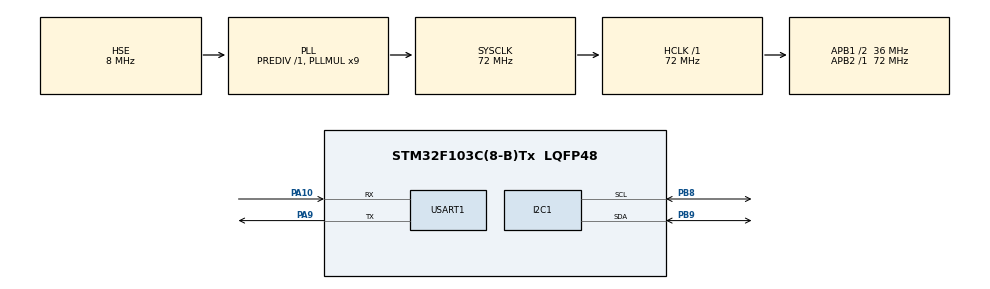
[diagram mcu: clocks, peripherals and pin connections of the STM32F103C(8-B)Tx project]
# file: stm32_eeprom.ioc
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I2C1.I2C_Mode=I2C_Fast
Mcu.Family=STM32F1
Mcu.Name=STM32F103C(8-B)Tx
Mcu.Package=LQFP48
NVIC.PriorityGroup=NVIC_PRIORITYGROUP_4
PA10.Mode=Asynchronous
PA10.Signal=USART1_RX
PA13.Mode=Serial_Wire
PA13.Signal=SYS_JTMS-SWDIO
PA14.Mode=Serial_Wire
PA14.Signal=SYS_JTCK-SWCLK
PA9.Mode=Asynchronous
PA9.Signal=USART1_TX
PB8.Mode=I2C
PB8.Signal=I2C1_SCL
PB9.Mode=I2C
PB9.Signal=I2C1_SDA
PD0-OSC_IN.Mode=HSE-External-Oscillator
PD0-OSC_IN.Signal=RCC_OSC_IN
PD1-OSC_OUT.Mode=HSE-External-Oscillator
PD1-OSC_OUT.Signal=RCC_OSC_OUT
ProjectManager.HeapSize=0x200
ProjectManager.StackSize=0x400
ProjectManager.TargetToolchain=Makefile
RCC.AHBFreq_Value=72000000
RCC.APB1CLKDivider=RCC_HCLK_DIV2
RCC.APB1Freq_Value=36000000
RCC.APB1TimFreq_Value=72000000
RCC.APB2Freq_Value=72000000
RCC.APB2TimFreq_Value=72000000
RCC.HCLKFreq_Value=72000000
RCC.PLLMUL=RCC_PLL_MUL9
RCC.PLLSourceVirtual=RCC_PLLSOURCE_HSE
RCC.SYSCLKFreq_VALUE=72000000
RCC.SYSCLKSource=RCC_SYSCLKSOURCE_PLLCLK
RCC.USBFreq_Value=72000000
USART1.VirtualMode=VM_ASYNC
board=custom

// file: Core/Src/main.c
/* USER CODE BEGIN Header */
/**
  ******************************************************************************
  * @file           : main.c
  * @brief          : Main program body
  ******************************************************************************
  * @attention
  *
  * Copyright (c) 2025 STMicroelectronics.
  * All rights reserved.
  *
  * This software is licensed under terms that can be found in the LICENSE file
  * in the root directory of this software component.
  * If no LICENSE file comes with this software, it is provided AS-IS.
  *
  ******************************************************************************
  */
/* USER CODE END Header */
#include "main.h"

/* USER CODE BEGIN Includes */
#include "string.h"
#include "stdio.h"
#include "ssd1306_fonts.h"
#include "ssd1306_tests.h"
#include "ssd1306.h"
#include "bitmap.h"

#include "stm32f1xx_hal_i2c.h"

/* USER CODE END Includes */

I2C_HandleTypeDef hi2c1;

UART_HandleTypeDef huart1;

/* USER CODE BEGIN PV */
#define EEPROM_ADDR (0xA0 << 1)
uint8_t Data_Save[] = "4096";
uint8_t Data_Read[64];
uint16_t Nilai_Data;
char data_memori[64];

uint8_t Buffer[25] = {0};
uint8_t Space[] = " - ";
uint8_t StartMSG[] = "Starting I2C Scanning: \r\n";
uint8_t EndMSG[] = "Done! \r\n\r\n";

/* USER CODE END PV */

void SystemClock_Config(void);
static void MX_GPIO_Init(void);
static void MX_I2C1_Init(void);
static void MX_USART1_UART_Init(void);

int main(void)
{

  /* USER CODE BEGIN 1 */
  //uint8_t i = 0, ret;

  /* USER CODE END 1 */

  /* MCU Configuration--------------------------------------------------------*/

  /* Reset of all peripherals, Initializes the Flash interface and the Systick. */
  HAL_Init();

  /* USER CODE BEGIN Init */
  HAL_Delay(100); // tambahkan delay untuk auto reset supaya bisa auto run
  /* USER CODE END Init */

  /* Configure the system clock */
  SystemClock_Config();

  /* Initialize all configured peripherals */
  MX_GPIO_Init();
  MX_I2C1_Init();
  MX_USART1_UART_Init();
  /* USER CODE BEGIN 2 */
  HAL_Delay(1000);
  /*
    //-[ I2C Bus Scanning ]-
    HAL_UART_Transmit(&huart1, StartMSG, sizeof(StartMSG), 10000);
    for(i=1; i<128; i++)
    {
        ret = HAL_I2C_IsDeviceReady(&hi2c1, (uint16_t)(i<<1), 3, 5);
        if (ret != HAL_OK) ///No ACK Received At That Address
        {
            HAL_UART_Transmit(&huart1, Space, sizeof(Space), 10000);
        }
        else if(ret == HAL_OK)
        {
            sprintf(Buffer, "0x%X", i);
            HAL_UART_Transmit(&huart1, Buffer, sizeof(Buffer), 10000);
        }
    }
    HAL_UART_Transmit(&huart1, EndMSG, sizeof(EndMSG), 10000);
    //--[ Scanning Done ]--
  */

  //HAL_I2C_Mem_Write(I2C_HandleTypeDef *hi2c, uint16_t DevAddress, uint16_t MemAddress, uint16_t MemAddSize, uint8_t *pData, uint16_t Size, uint32_t Timeout);
  HAL_I2C_Mem_Write(&hi2c1, 0x50<<1, 0x0000, 2, (uint8_t*)Data_Save, sizeof(Data_Save), HAL_MAX_DELAY);
  HAL_Delay(10);
  //HAL_I2C_Mem_Read(I2C_HandleTypeDef *hi2c, uint16_t DevAddress, uint16_t MemAddress, uint16_t MemAddSize, uint8_t *pData, uint16_t Size, uint32_t Timeout)
  HAL_StatusTypeDef status = HAL_I2C_Mem_Read(&hi2c1, 0x50<<1, 0x0000, 2, (uint8_t*)Data_Read, sizeof(Data_Read), HAL_MAX_DELAY);
  HAL_Delay(10);
  Nilai_Data = atoi(Data_Read);

  if (status == HAL_OK){
    sprintf(data_memori, "Berhasil baca EEPROM: %hu ", Nilai_Data);
    HAL_UART_Transmit(&huart1,(uint8_t*)data_memori, strlen(data_memori), HAL_MAX_DELAY);
    HAL_Delay(5);
  }
  else {
    sprintf(data_memori, "memori error! \r\n");
    HAL_UART_Transmit(&huart1,(uint8_t*)data_memori, strlen(data_memori), HAL_MAX_DELAY);
    HAL_Delay(5);
  }

  /* USER CODE END 2 */

  /* Infinite loop */
  while (1)
  {

  }
}

void SystemClock_Config(void)
{
  RCC_OscInitTypeDef RCC_OscInitStruct = {0};
  RCC_ClkInitTypeDef RCC_ClkInitStruct = {0};

  /** Initializes the RCC Oscillators according to the specified parameters
  * in the RCC_OscInitTypeDef structure.
  */
  RCC_OscInitStruct.OscillatorType = RCC_OSCILLATORTYPE_HSE;
  RCC_OscInitStruct.HSEState = RCC_HSE_ON;
  RCC_OscInitStruct.HSEPredivValue = RCC_HSE_PREDIV_DIV1;
  RCC_OscInitStruct.HSIState = RCC_HSI_ON;
  RCC_OscInitStruct.PLL.PLLState = RCC_PLL_ON;
  RCC_OscInitStruct.PLL.PLLSource = RCC_PLLSOURCE_HSE;
  RCC_OscInitStruct.PLL.PLLMUL = RCC_PLL_MUL9;
  if (HAL_RCC_OscConfig(&RCC_OscInitStruct) != HAL_OK)
  {
    Error_Handler();
  }

  /** Initializes the CPU, AHB and APB buses clocks
  */
  RCC_ClkInitStruct.ClockType = RCC_CLOCKTYPE_HCLK|RCC_CLOCKTYPE_SYSCLK
                              |RCC_CLOCKTYPE_PCLK1|RCC_CLOCKTYPE_PCLK2;
  RCC_ClkInitStruct.SYSCLKSource = RCC_SYSCLKSOURCE_PLLCLK;
  RCC_ClkInitStruct.AHBCLKDivider = RCC_SYSCLK_DIV1;
  RCC_ClkInitStruct.APB1CLKDivider = RCC_HCLK_DIV2;
  RCC_ClkInitStruct.APB2CLKDivider = RCC_HCLK_DIV1;

  if (HAL_RCC_ClockConfig(&RCC_ClkInitStruct, FLASH_LATENCY_2) != HAL_OK)
  {
    Error_Handler();
  }
}

static void MX_I2C1_Init(void)
{

  hi2c1.Instance = I2C1;
  hi2c1.Init.ClockSpeed = 400000;
  hi2c1.Init.DutyCycle = I2C_DUTYCYCLE_2;
  hi2c1.Init.OwnAddress1 = 0;
  hi2c1.Init.AddressingMode = I2C_ADDRESSINGMODE_7BIT;
  hi2c1.Init.DualAddressMode = I2C_DUALADDRESS_DISABLE;
  hi2c1.Init.OwnAddress2 = 0;
  hi2c1.Init.GeneralCallMode = I2C_GENERALCALL_DISABLE;
  hi2c1.Init.NoStretchMode = I2C_NOSTRETCH_DISABLE;
  if (HAL_I2C_Init(&hi2c1) != HAL_OK)
  {
    Error_Handler();
  }

}

static void MX_USART1_UART_Init(void)
{

  huart1.Instance = USART1;
  huart1.Init.BaudRate = 115200;
  huart1.Init.WordLength = UART_WORDLENGTH_8B;
  huart1.Init.StopBits = UART_STOPBITS_1;
  huart1.Init.Parity = UART_PARITY_NONE;
  huart1.Init.Mode = UART_MODE_TX_RX;
  huart1.Init.HwFlowCtl = UART_HWCONTROL_NONE;
  huart1.Init.OverSampling = UART_OVERSAMPLING_16;
  if (HAL_UART_Init(&huart1) != HAL_OK)
  {
    Error_Handler();
  }

}

static void MX_GPIO_Init(void)
{

  /* GPIO Ports Clock Enable */
  __HAL_RCC_GPIOD_CLK_ENABLE();
  __HAL_RCC_GPIOA_CLK_ENABLE();
  __HAL_RCC_GPIOB_CLK_ENABLE();

}

void Error_Handler(void)
{
  __disable_irq();
  while (1)
  {
  }
}
